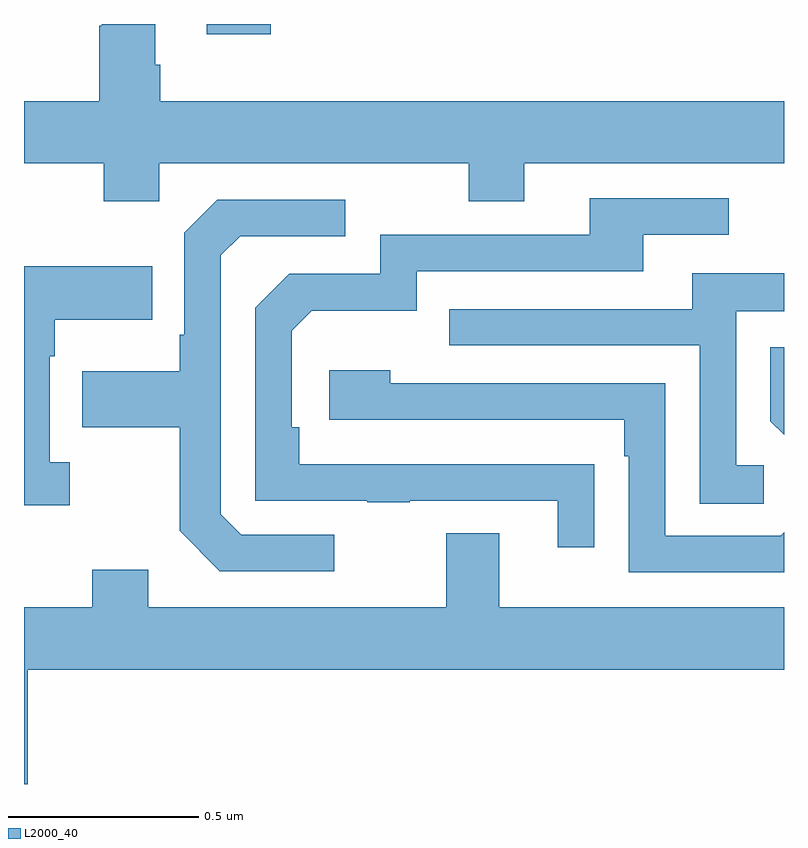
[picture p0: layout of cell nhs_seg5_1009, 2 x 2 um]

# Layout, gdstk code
import gdstk
lib = gdstk.Library(unit=1e-6, precision=1e-09)
def R(c, l, rs):  # rectangles x0, y0, x1, y1
    for r in rs: c.add(gdstk.rectangle(r[:2], r[2:], *l))
def P(c, l, *ps):  # polygons
    for p in ps: c.add(gdstk.Polygon(p, *l))
L2000_40 = (2000, 40)

nhs_seg5_1009 = lib.new_cell('nhs_seg5_1009')
R(nhs_seg5_1009, L2000_40, [(124.481,851.772,124.649,851.799)])
P(nhs_seg5_1009, L2000_40, [(124.356,851.432),(125.17,851.432),(125.17,851.333),(125.317,851.333),(125.317,851.432),(126,851.432),(126,851.596),(124.358,851.596),(124.358,851.692),(124.345,851.692),(124.345,851.799),(124.205,851.799),(124.205,851.795),(124.198,851.795),(124.198,851.596),(124,851.596),(124,851.432),(124.21,851.432),(124.21,851.333),(124.356,851.333)],
  [(125.501,850.64),(125.399,850.64),(125.399,850.641),(124.724,850.641),(124.724,850.738),(124.704,850.738),(124.704,850.992),(124.757,851.045),(125.034,851.045),(125.034,851.148),(125.629,851.148),(125.629,851.244),(125.854,851.244),(125.854,851.34),(125.489,851.34),(125.489,851.244),(124.938,851.244),(124.938,851.142),(124.698,851.142),(124.608,851.052),(124.608,850.545),(124.903,850.545),(124.903,850.54),(125.015,850.54),(125.015,850.545),(125.405,850.545),(125.405,850.422),(125.501,850.422)],
  [(124.816,850.455),(124.572,850.455),(124.518,850.509),(124.518,851.19),(124.569,851.241),(124.846,851.241),(124.846,851.337),(124.509,851.337),(124.422,851.25),(124.422,850.981),(124.41,850.981),(124.41,850.885),(124.153,850.885),(124.153,850.738),(124.41,850.738),(124.41,850.465),(124.515,850.359),(124.816,850.359)],
  [(124.12,850.646),(124.068,850.646),(124.068,850.925),(124.081,850.925),(124.081,851.021),(124.337,851.021),(124.337,851.161),(124,851.161),(124,850.533),(124.12,850.533)],
  [(125.947,850.638),(125.874,850.638),(125.874,851.043),(126,851.043),(126,851.143),(125.759,851.143),(125.759,851.049),(125.119,851.049),(125.119,850.953),(125.778,850.953),(125.778,850.537),(125.947,850.537)],
  [(126,850.948),(125.964,850.948),(125.964,850.754),(126,850.718)],
  [(126,850.461),(125.991,850.452),(125.688,850.452),(125.688,850.854),(124.964,850.854),(124.964,850.888),(124.803,850.888),(124.803,850.758),(125.579,850.758),(125.579,850.661),(125.592,850.661),(125.592,850.356),(126,850.356)],
  [(124.01,850.1),(126,850.1),(126,850.264),(125.251,850.264),(125.251,850.459),(125.111,850.459),(125.111,850.264),(124.327,850.264),(124.327,850.363),(124.18,850.363),(124.18,850.264),(124,850.264),(124,849.799),(124.01,849.799)])

lib.write_gds('nhs_seg5_1009.gds')
